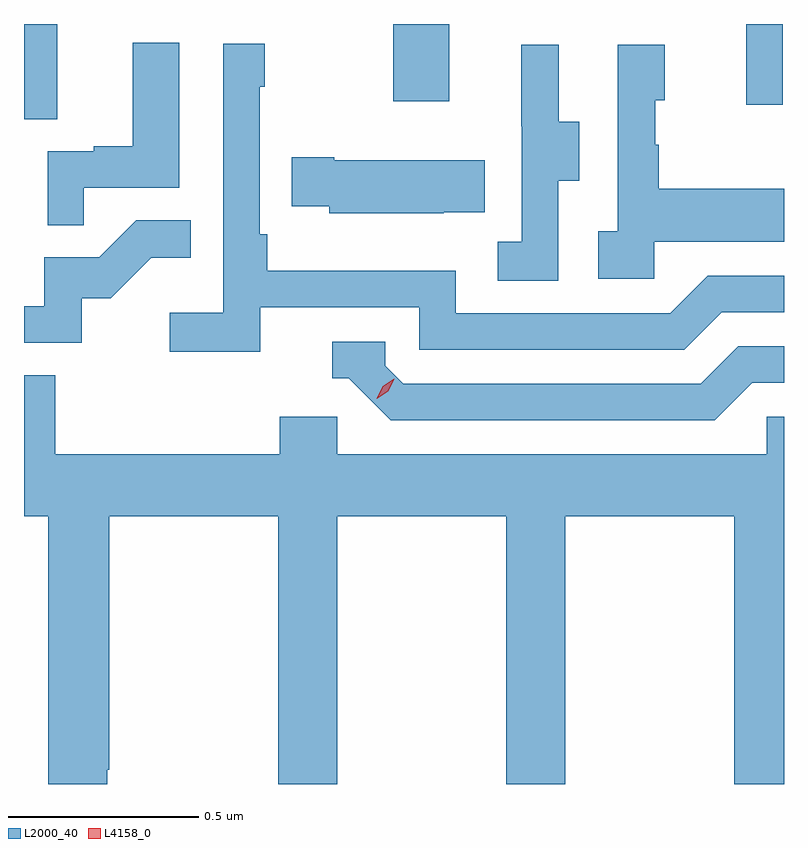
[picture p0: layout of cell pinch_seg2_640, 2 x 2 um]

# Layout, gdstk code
import gdstk
lib = gdstk.Library(unit=1e-6, precision=1e-09)
def R(c, l, rs):  # rectangles x0, y0, x1, y1
    for r in rs: c.add(gdstk.rectangle(r[:2], r[2:], *l))
def P(c, l, *ps):  # polygons
    for p in ps: c.add(gdstk.Polygon(p, *l))
L2000_40 = (2000, 40)
L4158_0 = (4158, 0)

pinch_seg2_640 = lib.new_cell('pinch_seg2_640')
R(pinch_seg2_640, L2000_40, [(1040.866,614.05,1040.953,614.3), (1042.766,614.088,1042.863,614.3), (1041.838,614.097,1041.985,614.3)])
P(pinch_seg2_640, L2000_40, [(1041.023,613.869),(1041.274,613.869),(1041.274,614.251),(1041.152,614.251),(1041.152,613.978),(1041.049,613.978),(1041.049,613.965),(1040.928,613.965),(1040.928,613.771),(1041.023,613.771)],
  [(1041.488,613.554),(1041.906,613.554),(1041.906,613.443),(1042.603,613.443),(1042.702,613.542),(1042.866,613.542),(1042.866,613.638),(1042.665,613.638),(1042.566,613.539),(1042.002,613.539),(1042.002,613.651),(1041.506,613.651),(1041.506,613.747),(1041.486,613.747),(1041.486,614.135),(1041.499,614.135),(1041.499,614.248),(1041.39,614.248),(1041.39,613.54),(1041.249,613.54),(1041.249,613.438),(1041.488,613.438)],
  [(1042.524,613.727),(1042.866,613.727),(1042.866,613.867),(1042.537,613.867),(1042.537,613.982),(1042.527,613.982),(1042.527,614.1),(1042.552,614.1),(1042.552,614.245),(1042.428,614.245),(1042.428,613.754),(1042.377,613.754),(1042.377,613.629),(1042.524,613.629)],
  [(1042.272,613.888),(1042.327,613.888),(1042.327,614.043),(1042.273,614.043),(1042.273,614.245),(1042.175,614.245),(1042.175,614.031),(1042.176,614.031),(1042.176,613.727),(1042.113,613.727),(1042.113,613.624),(1042.272,613.624)],
  [(1041.971,613.805),(1042.079,613.805),(1042.079,613.942),(1041.682,613.942),(1041.682,613.95),(1041.571,613.95),(1041.571,613.82),(1041.669,613.82),(1041.669,613.802),(1041.971,613.802)],
  [(1041.018,613.578),(1041.094,613.578),(1041.201,613.685),(1041.305,613.685),(1041.305,613.784),(1041.162,613.784),(1041.064,613.686),(1040.919,613.686),(1040.919,613.557),(1040.866,613.557),(1040.866,613.461),(1041.018,613.461)],
  [(1042.783,613.356),(1042.866,613.356),(1042.866,613.452),(1042.746,613.452),(1042.647,613.353),(1041.864,613.353),(1041.816,613.401),(1041.816,613.464),(1041.677,613.464),(1041.677,613.368),(1041.72,613.368),(1041.831,613.257),(1042.684,613.257)],
  [(1041.085,612.337),(1041.09,612.337),(1041.09,613.004),(1041.535,613.004),(1041.535,612.3),(1041.69,612.3),(1041.69,613.004),(1042.135,613.004),(1042.135,612.3),(1042.29,612.3),(1042.29,613.004),(1042.735,613.004),(1042.735,612.3),(1042.866,612.3),(1042.866,613.266),(1042.821,613.266),(1042.821,613.168),(1041.69,613.168),(1041.69,613.266),(1041.539,613.266),(1041.539,613.168),(1040.948,613.168),(1040.948,613.376),(1040.866,613.376),(1040.866,613.004),(1040.93,613.004),(1040.93,612.3),(1041.085,612.3)])
P(pinch_seg2_640, L4158_0, [(1041.794,613.314),(1041.794,613.314),(1041.81,613.347),(1041.84,613.367),(1041.84,613.367),(1041.84,613.367),(1041.825,613.334),(1041.794,613.314)])

lib.write_gds('pinch_seg2_640.gds')
